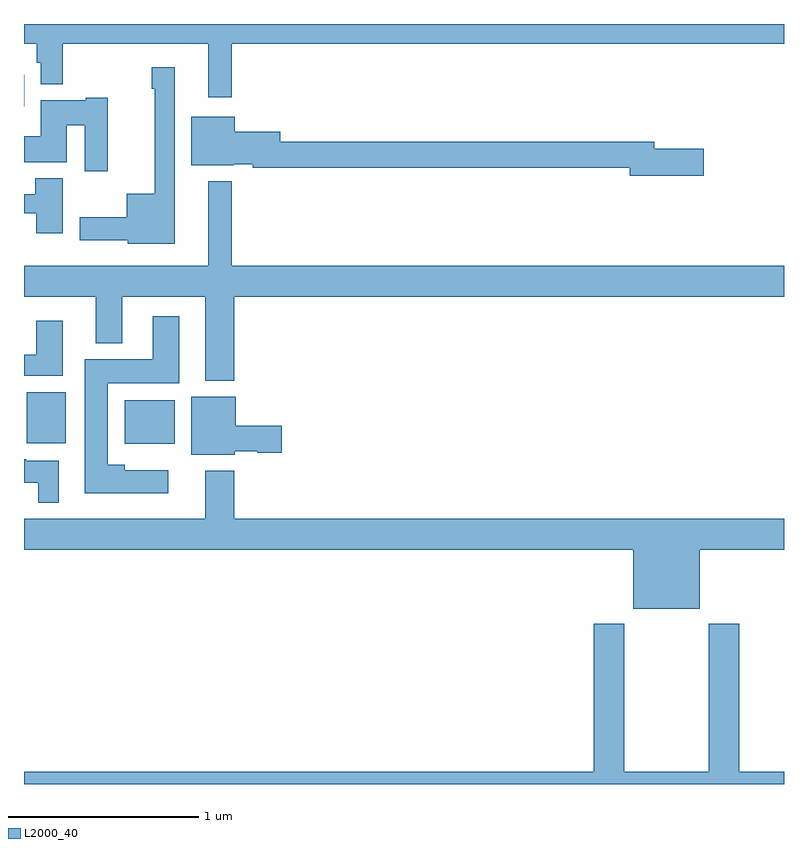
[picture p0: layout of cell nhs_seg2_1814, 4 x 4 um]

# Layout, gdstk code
import gdstk
lib = gdstk.Library(unit=1e-6, precision=1e-09)
def R(c, l, rs):  # rectangles x0, y0, x1, y1
    for r in rs: c.add(gdstk.rectangle(r[:2], r[2:], *l))
def P(c, l, *ps):  # polygons
    for p in ps: c.add(gdstk.Polygon(p, *l))
L2000_40 = (2000, 40)

nhs_seg2_1814 = lib.new_cell('nhs_seg2_1814')
R(nhs_seg2_1814, L2000_40, [(207.53,585.59,207.793,585.82), (207.014,585.593,207.22,585.862)])
P(nhs_seg2_1814, L2000_40, [(208.093,587.696),(211,587.696),(211,587.8),(207,587.8),(207,587.696),(207.067,587.696),(207.067,587.595),(207.087,587.595),(207.087,587.483),(207.203,587.483),(207.203,587.696),(207.971,587.696),(207.971,587.415),(208.093,587.415)],
  [(207.793,587.572),(207.672,587.572),(207.672,587.459),(207.689,587.459),(207.689,586.906),(207.542,586.906),(207.542,586.783),(207.294,586.783),(207.294,586.661),(207.546,586.661),(207.546,586.643),(207.793,586.643)],
  [(207.002,587.37),(207.002,587.533),(207,587.533),(207,587.368)],
  [(207.442,587.413),(207.324,587.413),(207.324,587.398),(207.089,587.398),(207.089,587.21),(207,587.21),(207,587.072),(207.226,587.072),(207.226,587.266),(207.32,587.266),(207.32,587.025),(207.442,587.025)],
  [(210.577,587.144),(210.316,587.144),(210.316,587.18),(208.348,587.18),(208.348,587.233),(208.108,587.233),(208.108,587.311),(207.881,587.311),(207.881,587.057),(208.104,587.057),(208.104,587.063),(208.204,587.063),(208.204,587.044),(210.188,587.044),(210.188,587.002),(210.577,587.002)],
  [(207.205,586.987),(207.058,586.987),(207.058,586.903),(207,586.903),(207,586.803),(207.065,586.803),(207.065,586.698),(207.205,586.698)],
  [(208.106,586.364),(211,586.364),(211,586.528),(208.093,586.528),(208.093,586.972),(207.971,586.972),(207.971,586.528),(207,586.528),(207,586.364),(207.377,586.364),(207.377,586.121),(207.517,586.121),(207.517,586.364),(207.953,586.364),(207.953,585.923),(208.106,585.923)],
  [(207.76,585.451),(207.529,585.451),(207.529,585.481),(207.442,585.481),(207.442,585.908),(207.817,585.908),(207.817,586.261),(207.677,586.261),(207.677,586.036),(207.32,586.036),(207.32,585.329),(207.76,585.329)],
  [(207.205,586.237),(207.065,586.237),(207.065,586.06),(207,586.06),(207,585.95),(207.205,585.95)],
  [(208.11,585.551),(208.227,585.551),(208.227,585.544),(208.357,585.544),(208.357,585.686),(208.114,585.686),(208.114,585.838),(207.881,585.838),(207.881,585.533),(208.11,585.533)],
  [(207.184,585.502),(207.012,585.502),(207.012,585.508),(207,585.508),(207,585.386),(207.075,585.386),(207.075,585.281),(207.184,585.281)],
  [(210.556,585.032),(211,585.032),(211,585.196),(208.106,585.196),(208.106,585.448),(207.953,585.448),(207.953,585.196),(207,585.196),(207,585.032),(210.206,585.032),(210.206,584.723),(210.556,584.723)],
  [(211,583.864),(210.764,583.864),(210.764,584.644),(210.604,584.644),(210.604,583.864),(210.159,583.864),(210.159,584.644),(209.999,584.644),(209.999,583.864),(207,583.864),(207,583.8),(211,583.8)])

lib.write_gds('nhs_seg2_1814.gds')
